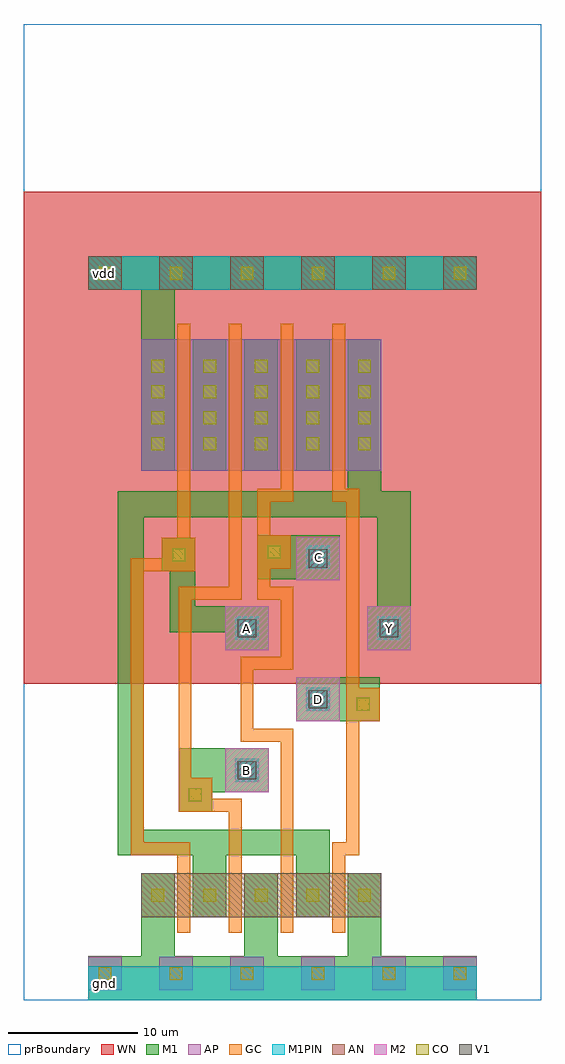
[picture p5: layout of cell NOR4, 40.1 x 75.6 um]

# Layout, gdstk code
import gdstk
lib = gdstk.Library(unit=1e-6, precision=1e-09)
def R(c, l, rs):  # rectangles x0, y0, x1, y1
    for r in rs: c.add(gdstk.rectangle(r[:2], r[2:], *l))
def A(c, l, x, y, w, h, nx, ny, dx, dy):  # array of equal rectangles
    R(c, l, [(x+i*dx, y+j*dy, x+i*dx+w, y+j*dy+h) for i in range(nx) for j in range(ny)])
def P(c, l, *ps):  # polygons
    for p in ps: c.add(gdstk.Polygon(p, *l))
AP = (3, 1)
AN = (3, 2)
GC = (8, 1)
CO = (11, 0)
M1 = (13, 0)
V1 = (19, 0)
M2 = (20, 0)
M1PIN = (48, 1)
WN = (140, 0)
prBoundary = (235, 4)

nor4 = lib.new_cell('NOR4')
A(nor4, AP, 5, 0.75, 2.6, 2.6, 6, 1, 5.5, 0)
R(nor4, AP, [(9.1,41,27.7,51.2)])
A(nor4, AN, 5, 55, 2.6, 2.6, 6, 1, 5.5, 0)
R(nor4, AN, [(9.1,6.4,27.7,9.8)])
P(nor4, GC, [(11.9,5.2),(11.9,11.2),(8.3,11.2),(8.3,34.2),(10.7,34.2),(10.7,35.8),(11.9,35.8),(11.9,52.4),(12.9,52.4),(12.9,35.8),(13.3,35.8),(13.3,33.2),(9.3,33.2),(9.3,12.2),(12.9,12.2),(12.9,5.2)],
  [(15.9,5.2),(15.9,14.6),(12,14.6),(12,32),(15.9,32),(15.9,52.4),(16.9,52.4),(16.9,31),(13,31),(13,17.2),(14.6,17.2),(14.6,15.6),(16.9,15.6),(16.9,5.2)],
  [(19.9,5.2),(19.9,20),(16.8,20),(16.8,26.6),(19.9,26.6),(19.9,31),(18.1,31),(18.1,39.6),(19.9,39.6),(19.9,52.4),(20.9,52.4),(20.9,38.6),(19.1,38.6),(19.1,36),(20.7,36),(20.7,33.4),(19.1,33.4),(19.1,32),(20.9,32),(20.9,25.6),(17.8,25.6),(17.8,21),(20.9,21),(20.9,5.2)],
  [(23.9,5.2),(23.9,12.2),(25,12.2),(25,38.6),(23.9,38.6),(23.9,52.4),(24.9,52.4),(24.9,39.6),(26,39.6),(26,24.2),(27.6,24.2),(27.6,21.6),(26,21.6),(26,11.2),(24.9,11.2),(24.9,5.2)])
A(nor4, CO, 5.8, 1.55, 1, 1, 6, 2, 5.5, 54.25)
A(nor4, CO, 9.9, 42.6, 1, 1, 1, 4, 0, 2)
A(nor4, CO, 25.9, 42.6, 1, 1, 1, 4, 0, 2)
R(nor4, CO, [(9.9,7.6,10.9,8.6), (13.9,7.6,14.9,8.6), (13.9,7.6,14.9,8.6), (17.9,7.6,18.9,8.6), (17.9,7.6,18.9,8.6), (21.9,7.6,22.9,8.6), (21.9,7.6,22.9,8.6), (25.9,7.6,26.9,8.6), (12.8,15.4,13.8,16.4), (25.8,22.4,26.8,23.4), (11.5,34,12.5,35), (18.9,34.2,19.9,35.2), (13.9,42.6,14.9,43.6), (13.9,42.6,14.9,43.6), (17.9,42.6,18.9,43.6), (17.9,42.6,18.9,43.6), (21.9,42.6,22.9,43.6), (21.9,42.6,22.9,43.6), (13.9,44.6,14.9,45.6), (13.9,44.6,14.9,45.6), (17.9,44.6,18.9,45.6), (17.9,44.6,18.9,45.6), (21.9,44.6,22.9,45.6), (21.9,44.6,22.9,45.6), (13.9,46.6,14.9,47.6), (13.9,46.6,14.9,47.6), (17.9,46.6,18.9,47.6), (17.9,46.6,18.9,47.6), (21.9,46.6,22.9,47.6), (21.9,46.6,22.9,47.6), (13.9,48.6,14.9,49.6), (13.9,48.6,14.9,49.6), (17.9,48.6,18.9,49.6), (17.9,48.6,18.9,49.6), (21.9,48.6,22.9,49.6), (21.9,48.6,22.9,49.6)])
A(nor4, M1, 13.1, 41, 2.6, 10.2, 3, 1, 4, 0)
R(nor4, M1, [(5,0,35.1,3.4), (21.1,21.6,27.6,25)])
P(nor4, M1, [(5,0),(5,2.6),(9.1,2.6),(9.1,9.8),(11.7,9.8),(11.7,2.6),(17.1,2.6),(17.1,9.8),(19.7,9.8),(19.7,2.6),(25.1,2.6),(25.1,9.8),(27.7,9.8),(27.7,2.6),(35.1,2.6),(35.1,0)],
  [(12,14.6),(12,19.5),(19,19.5),(19,16.1),(14.6,16.1),(14.6,14.6)],
  [(15.6,27.1),(15.6,28.5),(11.3,28.5),(11.3,33.2),(10.7,33.2),(10.7,35.8),(13.3,35.8),(13.3,30.5),(19,30.5),(19,27.1)],
  [(21.1,32.5),(21.1,32.6),(18.1,32.6),(18.1,36),(24.5,36),(24.5,32.5)],
  [(13.1,6.4),(13.1,11.2),(7.3,11.2),(7.3,39.4),(25.1,39.4),(25.1,51.2),(27.7,51.2),(27.7,39.4),(30,39.4),(30,27.1),(26.6,27.1),(26.6,30.5),(27.4,30.5),(27.4,37.4),(9.3,37.4),(9.3,13.2),(23.7,13.2),(23.7,6.4),(21.1,6.4),(21.1,11.2),(15.7,11.2),(15.7,6.4)],
  [(9.1,41),(9.1,55),(5,55),(5,57.6),(35.1,57.6),(35.1,55),(11.7,55),(11.7,41)])
R(nor4, V1, [(16.6,17.1,18,18.5), (22.1,22.6,23.5,24), (16.6,28.1,18,29.5), (27.6,28.1,29,29.5), (22.1,33.5,23.5,34.9)])
R(nor4, M2, [(15.6,16.1,19,19.5), (21.1,21.6,24.5,25), (15.6,27.1,19,30.5), (26.6,27.1,30,30.5), (21.1,32.5,24.5,35.9)])
R(nor4, M1PIN, [(5,0,35.1,2.6), (16.4,16.9,18.2,18.7), (21.9,22.4,23.7,24.2), (16.4,27.9,18.2,29.7), (27.4,27.9,29.2,29.7), (21.9,33.4,23.7,35.2), (5,55,35.1,57.6)])
R(nor4, WN, [(0,24.5,40.1,62.6)])
R(nor4, prBoundary, [(0,0,40.1,75.6)])
nor4.add(gdstk.Label('vdd', (6.3,56.3), layer=48, texttype=0))
nor4.add(gdstk.Label('C', (22.8,34.3), layer=48, texttype=0))
nor4.add(gdstk.Label('Y', (28.3,28.8), layer=48, texttype=0))
nor4.add(gdstk.Label('A', (17.3,28.8), layer=48, texttype=0))
nor4.add(gdstk.Label('D', (22.8,23.3), layer=48, texttype=0))
nor4.add(gdstk.Label('B', (17.3,17.8), layer=48, texttype=0))
nor4.add(gdstk.Label('gnd', (6.3,1.3), layer=48, texttype=0))
nor4.add(gdstk.Label('A', (17.3,28.8), layer=49, texttype=0))
nor4.add(gdstk.Label('B', (17.3,17.8), layer=49, texttype=0))
nor4.add(gdstk.Label('C', (22.8,34.2), layer=49, texttype=0))
nor4.add(gdstk.Label('D', (22.8,23.3), layer=49, texttype=0))
nor4.add(gdstk.Label('Y', (28.3,28.8), layer=49, texttype=0))

lib.write_gds('NOR4.gds')
